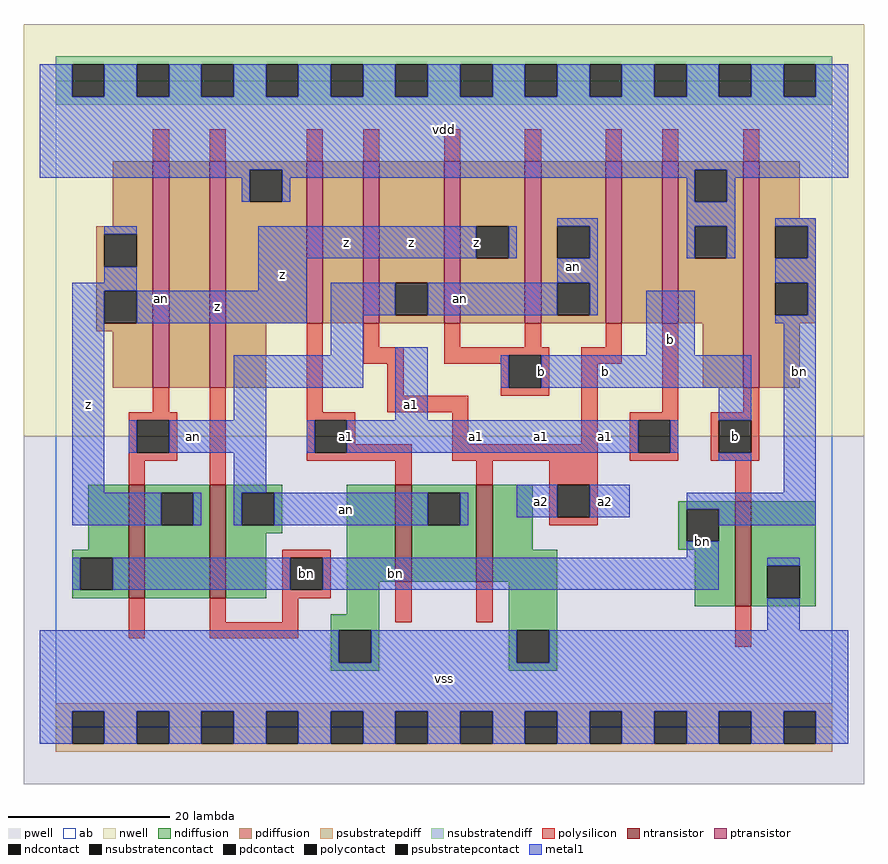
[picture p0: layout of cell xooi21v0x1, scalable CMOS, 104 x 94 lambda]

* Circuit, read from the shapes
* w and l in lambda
.subckt xooi21v0x1 a1 a2 an b bn vdd vss z
M1 z an bn vss nfet w=14 l=2
M2 an bn z vss nfet w=14 l=2
M3 an a1 vss vss nfet w=12 l=2
M4 vss a2 an vss nfet w=12 l=2
M5 vss b bn vss nfet w=13 l=2
M6 n1 an z vdd pfet w=28 l=2
M7 vdd bn n1 vdd pfet w=28 l=2
M8 n2 a1 vdd vdd pfet w=20 l=2
M9 an a2 n2 vdd pfet w=20 l=2
M10 z b an vdd pfet w=20 l=2 m=2
M11 n3 a2 an vdd pfet w=20 l=2
M12 vdd a1 n3 vdd pfet w=20 l=2
M13 bn b vdd vdd pfet w=28 l=2
.ends

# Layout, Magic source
magic
tech scmos
<< ab >>
rect 0 0 96 80
<< pwell >>
rect -4 -7 100 36
<< nwell >>
rect -4 36 100 87
<< polysilicon >>
rect 12 70 14 74
rect 19 70 21 74
rect 31 70 33 74
rect 38 70 40 74
rect 48 70 50 74
rect 58 70 60 74
rect 68 70 70 74
rect 75 70 77 74
rect 85 70 87 74
rect 12 39 14 42
rect 9 38 15 39
rect 9 34 10 38
rect 14 34 15 38
rect 9 33 15 34
rect 9 30 11 33
rect 19 30 21 42
rect 31 39 33 50
rect 38 47 40 50
rect 48 47 50 50
rect 58 47 60 50
rect 68 47 70 50
rect 38 45 43 47
rect 48 46 61 47
rect 48 45 56 46
rect 41 41 43 45
rect 55 42 56 45
rect 60 42 61 46
rect 55 41 61 42
rect 65 45 70 47
rect 41 39 51 41
rect 31 38 37 39
rect 31 34 32 38
rect 36 35 37 38
rect 49 35 51 39
rect 65 35 67 45
rect 75 39 77 50
rect 85 39 87 42
rect 36 34 44 35
rect 31 33 44 34
rect 49 33 67 35
rect 71 38 77 39
rect 71 34 72 38
rect 76 34 77 38
rect 71 33 77 34
rect 81 38 87 39
rect 81 34 82 38
rect 86 34 87 38
rect 81 33 87 34
rect 42 30 44 33
rect 52 30 54 33
rect 61 30 67 33
rect 28 21 34 22
rect 28 17 29 21
rect 33 17 34 21
rect 28 16 34 17
rect 61 26 62 30
rect 66 26 67 30
rect 84 28 86 33
rect 61 25 67 26
rect 9 11 11 16
rect 19 13 21 16
rect 28 13 30 16
rect 19 11 30 13
rect 42 13 44 18
rect 52 13 54 18
rect 84 10 86 15
<< ndiffusion >>
rect 4 22 9 30
rect 2 21 9 22
rect 2 17 3 21
rect 7 17 9 21
rect 2 16 9 17
rect 11 29 19 30
rect 11 25 13 29
rect 17 25 19 29
rect 11 16 19 25
rect 21 29 28 30
rect 21 25 23 29
rect 27 25 28 29
rect 21 24 28 25
rect 21 16 26 24
rect 36 18 42 30
rect 44 29 52 30
rect 44 25 46 29
rect 50 25 52 29
rect 44 18 52 25
rect 54 22 59 30
rect 77 27 84 28
rect 77 23 78 27
rect 82 23 84 27
rect 77 22 84 23
rect 54 18 62 22
rect 36 14 40 18
rect 34 12 40 14
rect 34 8 35 12
rect 39 8 40 12
rect 34 7 40 8
rect 56 12 62 18
rect 79 15 84 22
rect 86 20 94 28
rect 86 16 88 20
rect 92 16 94 20
rect 86 15 94 16
rect 56 8 57 12
rect 61 8 62 12
rect 56 7 62 8
<< pdiffusion >>
rect 7 62 12 70
rect 5 61 12 62
rect 5 57 6 61
rect 10 57 12 61
rect 5 54 12 57
rect 5 50 6 54
rect 10 50 12 54
rect 5 49 12 50
rect 7 42 12 49
rect 14 42 19 70
rect 21 69 31 70
rect 21 65 24 69
rect 28 65 31 69
rect 21 50 31 65
rect 33 50 38 70
rect 40 55 48 70
rect 40 51 42 55
rect 46 51 48 55
rect 40 50 48 51
rect 50 62 58 70
rect 50 58 52 62
rect 56 58 58 62
rect 50 50 58 58
rect 60 62 68 70
rect 60 58 62 62
rect 66 58 68 62
rect 60 55 68 58
rect 60 51 62 55
rect 66 51 68 55
rect 60 50 68 51
rect 70 50 75 70
rect 77 69 85 70
rect 77 65 79 69
rect 83 65 85 69
rect 77 62 85 65
rect 77 58 79 62
rect 83 58 85 62
rect 77 50 85 58
rect 21 42 26 50
rect 80 42 85 50
rect 87 63 92 70
rect 87 62 94 63
rect 87 58 89 62
rect 93 58 94 62
rect 87 55 94 58
rect 87 51 89 55
rect 93 51 94 55
rect 87 50 94 51
rect 87 42 92 50
<< metal1 >>
rect -2 78 2 82
rect 6 78 10 82
rect 14 78 18 82
rect 22 78 26 82
rect 30 78 34 82
rect 38 78 42 82
rect 46 78 50 82
rect 54 78 58 82
rect 62 78 66 82
rect 70 78 74 82
rect 78 78 82 82
rect 86 78 90 82
rect 94 78 98 82
rect -2 69 98 78
rect -2 68 24 69
rect 23 65 24 68
rect 28 68 79 69
rect 28 65 29 68
rect 78 65 79 68
rect 83 68 98 69
rect 83 65 84 68
rect 62 62 67 63
rect 6 61 10 62
rect 6 55 10 57
rect 2 54 10 55
rect 25 58 52 62
rect 56 58 57 62
rect 66 58 67 62
rect 78 62 84 65
rect 78 58 79 62
rect 83 58 84 62
rect 89 62 94 63
rect 93 58 94 62
rect 25 54 31 58
rect 62 55 67 58
rect 2 29 6 54
rect 10 50 31 54
rect 34 51 42 55
rect 46 51 62 55
rect 66 51 67 55
rect 89 55 94 58
rect 34 46 38 51
rect 22 42 38 46
rect 22 38 26 42
rect 42 38 46 47
rect 73 46 79 54
rect 93 51 94 55
rect 89 50 94 51
rect 55 42 56 46
rect 60 42 86 46
rect 82 38 86 42
rect 9 34 10 38
rect 14 34 26 38
rect 31 34 32 38
rect 36 34 72 38
rect 76 34 77 38
rect 22 29 26 34
rect 82 33 86 34
rect 2 25 13 29
rect 17 25 18 29
rect 22 25 23 29
rect 27 25 46 29
rect 50 25 51 29
rect 57 26 62 30
rect 66 26 71 30
rect 90 29 94 50
rect 78 27 94 29
rect 82 25 94 27
rect 78 21 82 23
rect 2 17 3 21
rect 7 17 29 21
rect 33 17 82 21
rect 88 20 92 21
rect 88 12 92 16
rect -2 8 35 12
rect 39 8 57 12
rect 61 8 98 12
rect -2 2 98 8
rect -2 -2 2 2
rect 6 -2 10 2
rect 14 -2 18 2
rect 22 -2 26 2
rect 30 -2 34 2
rect 38 -2 42 2
rect 46 -2 50 2
rect 54 -2 58 2
rect 62 -2 66 2
rect 70 -2 74 2
rect 78 -2 82 2
rect 86 -2 90 2
rect 94 -2 98 2
<< ntransistor >>
rect 9 16 11 30
rect 19 16 21 30
rect 42 18 44 30
rect 52 18 54 30
rect 84 15 86 28
<< ptransistor >>
rect 12 42 14 70
rect 19 42 21 70
rect 31 50 33 70
rect 38 50 40 70
rect 48 50 50 70
rect 58 50 60 70
rect 68 50 70 70
rect 75 50 77 70
rect 85 42 87 70
<< polycontact >>
rect 10 34 14 38
rect 56 42 60 46
rect 32 34 36 38
rect 72 34 76 38
rect 82 34 86 38
rect 29 17 33 21
rect 62 26 66 30
<< ndcontact >>
rect 3 17 7 21
rect 13 25 17 29
rect 23 25 27 29
rect 46 25 50 29
rect 78 23 82 27
rect 35 8 39 12
rect 88 16 92 20
rect 57 8 61 12
<< pdcontact >>
rect 6 57 10 61
rect 6 50 10 54
rect 24 65 28 69
rect 42 51 46 55
rect 52 58 56 62
rect 62 58 66 62
rect 62 51 66 55
rect 79 65 83 69
rect 79 58 83 62
rect 89 58 93 62
rect 89 51 93 55
<< psubstratepcontact >>
rect 2 -2 6 2
rect 10 -2 14 2
rect 18 -2 22 2
rect 26 -2 30 2
rect 34 -2 38 2
rect 42 -2 46 2
rect 50 -2 54 2
rect 58 -2 62 2
rect 66 -2 70 2
rect 74 -2 78 2
rect 82 -2 86 2
rect 90 -2 94 2
<< nsubstratencontact >>
rect 2 78 6 82
rect 10 78 14 82
rect 18 78 22 82
rect 26 78 30 82
rect 34 78 38 82
rect 42 78 46 82
rect 50 78 54 82
rect 58 78 62 82
rect 66 78 70 82
rect 74 78 78 82
rect 82 78 86 82
rect 90 78 94 82
<< psubstratepdiff >>
rect 0 2 96 3
rect 0 -2 2 2
rect 6 -2 10 2
rect 14 -2 18 2
rect 22 -2 26 2
rect 30 -2 34 2
rect 38 -2 42 2
rect 46 -2 50 2
rect 54 -2 58 2
rect 62 -2 66 2
rect 70 -2 74 2
rect 78 -2 82 2
rect 86 -2 90 2
rect 94 -2 96 2
rect 0 -3 96 -2
<< nsubstratendiff >>
rect 0 82 96 83
rect 0 78 2 82
rect 6 78 10 82
rect 14 78 18 82
rect 22 78 26 82
rect 30 78 34 82
rect 38 78 42 82
rect 46 78 50 82
rect 54 78 58 82
rect 62 78 66 82
rect 70 78 74 82
rect 78 78 82 82
rect 86 78 90 82
rect 94 78 96 82
rect 0 77 96 78
<< labels >>
rlabel ptransistor 13 53 13 53 6 an
rlabel polycontact 31 19 31 19 6 bn
rlabel metal1 4 40 4 40 6 z
rlabel metal1 12 52 12 52 6 z
rlabel metal1 17 36 17 36 6 an
rlabel metal1 20 52 20 52 6 z
rlabel metal1 28 56 28 56 6 z
rlabel metal1 48 6 48 6 6 vss
rlabel metal1 36 27 36 27 6 an
rlabel metal1 36 36 36 36 6 a1
rlabel metal1 44 40 44 40 6 a1
rlabel metal1 52 36 52 36 6 a1
rlabel metal1 36 60 36 60 6 z
rlabel metal1 44 60 44 60 6 z
rlabel metal1 52 60 52 60 6 z
rlabel metal1 48 74 48 74 6 vdd
rlabel metal1 60 28 60 28 6 a2
rlabel metal1 68 28 68 28 6 a2
rlabel metal1 60 36 60 36 6 a1
rlabel metal1 60 44 60 44 6 b
rlabel metal1 68 36 68 36 6 a1
rlabel metal1 68 44 68 44 6 b
rlabel metal1 76 48 76 48 6 b
rlabel metal1 50 53 50 53 6 an
rlabel metal1 64 57 64 57 6 an
rlabel metal1 80 23 80 23 6 bn
rlabel metal1 42 19 42 19 6 bn
rlabel polycontact 84 36 84 36 6 b
rlabel metal1 92 44 92 44 6 bn
<< end >>
